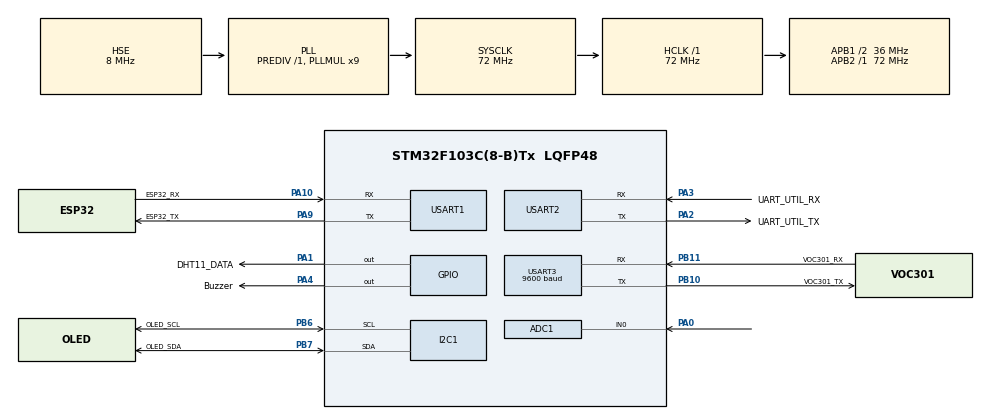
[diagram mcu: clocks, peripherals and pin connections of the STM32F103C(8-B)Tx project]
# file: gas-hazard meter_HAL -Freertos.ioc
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ADC1.Channel-0\#ChannelRegularConversion=ADC_CHANNEL_0
ADC1.ContinuousConvMode=ENABLE
ADC1.NbrOfConversionFlag=1
ADC1.Rank-0\#ChannelRegularConversion=1
ADC1.SamplingTime-0\#ChannelRegularConversion=ADC_SAMPLETIME_239CYCLES_5
ADC1.master=1
Mcu.Family=STM32F1
Mcu.Name=STM32F103C(8-B)Tx
Mcu.Package=LQFP48
NVIC.PriorityGroup=NVIC_PRIORITYGROUP_4
NVIC.TIM1_UP_IRQn=true\:0\:0\:true\:false\:true\:false\:true\:true
NVIC.TimeBase=TIM1_UP_IRQn
NVIC.TimeBaseIP=TIM1
NVIC.USART1_IRQn=true\:6\:0\:true\:false\:true\:true\:true\:true
NVIC.USART3_IRQn=true\:7\:0\:true\:false\:true\:true\:true\:true
PA0-WKUP.Signal=ADCx_IN0
PA1.GPIO_Label=DHT11_DATA
PA1.GPIO_ModeDefaultOutputPP=GPIO_MODE_OUTPUT_OD
PA1.GPIO_PuPd=GPIO_NOPULL
PA1.GPIO_Speed=GPIO_SPEED_FREQ_HIGH
PA1.PinState=GPIO_PIN_SET
PA1.Signal=GPIO_Output
PA10.GPIO_Label=ESP32_RX
PA10.Mode=Asynchronous
PA10.Signal=USART1_RX
PA13.Mode=Serial_Wire
PA13.Signal=SYS_JTMS-SWDIO
PA14.Mode=Serial_Wire
PA14.Signal=SYS_JTCK-SWCLK
PA2.GPIO_Label=UART_UTIL_TX
PA2.Mode=Asynchronous
PA2.Signal=USART2_TX
PA3.GPIO_Label=UART_UTIL_RX
PA3.Mode=Asynchronous
PA3.Signal=USART2_RX
PA4.GPIO_Label=Buzzer
PA4.GPIO_Speed=GPIO_SPEED_FREQ_HIGH
PA4.PinState=GPIO_PIN_SET
PA4.Signal=GPIO_Output
PA9.GPIO_Label=ESP32_TX
PA9.Mode=Asynchronous
PA9.Signal=USART1_TX
PB10.GPIO_Label=VOC301_TX
PB10.Mode=Asynchronous
PB10.Signal=USART3_TX
PB11.GPIO_Label=VOC301_RX
PB11.Mode=Asynchronous
PB11.Signal=USART3_RX
PB6.GPIO_Label=OLED_SCL
PB6.Mode=I2C
PB6.Signal=I2C1_SCL
PB7.GPIO_Label=OLED_SDA
PB7.Mode=I2C
PB7.Signal=I2C1_SDA
PC14-OSC32_IN.Mode=LSE-External-Oscillator
PC14-OSC32_IN.Signal=RCC_OSC32_IN
PC15-OSC32_OUT.Mode=LSE-External-Oscillator
PC15-OSC32_OUT.Signal=RCC_OSC32_OUT
PD0-OSC_IN.Mode=HSE-External-Oscillator
PD0-OSC_IN.Signal=RCC_OSC_IN
PD1-OSC_OUT.Mode=HSE-External-Oscillator
PD1-OSC_OUT.Signal=RCC_OSC_OUT
ProjectManager.HeapSize=0x200
ProjectManager.StackSize=0x400
ProjectManager.TargetToolchain=MDK-ARM V5.32
RCC.ADCPresc=RCC_ADCPCLK2_DIV6
RCC.AHBFreq_Value=72000000
RCC.APB1CLKDivider=RCC_HCLK_DIV2
RCC.APB1Freq_Value=36000000
RCC.APB1TimFreq_Value=72000000
RCC.APB2Freq_Value=72000000
RCC.APB2TimFreq_Value=72000000
RCC.HCLKFreq_Value=72000000
RCC.PLLMUL=RCC_PLL_MUL9
RCC.PLLSourceVirtual=RCC_PLLSOURCE_HSE
RCC.SYSCLKFreq_VALUE=72000000
RCC.SYSCLKSource=RCC_SYSCLKSOURCE_PLLCLK
RCC.USBFreq_Value=72000000
SH.ADCx_IN0.0=ADC1_IN0,IN0
USART1.VirtualMode=VM_ASYNC
USART2.VirtualMode=VM_ASYNC
USART3.BaudRate=9600
USART3.VirtualMode=VM_ASYNC
VP_SYS_VS_tim1.Mode=TIM1
board=custom

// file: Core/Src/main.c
/* USER CODE BEGIN Header */
/**
 ******************************************************************************
 * @file           : main.c
 * @brief          : Main program body
 ******************************************************************************
 * @attention
 *
 * Copyright (c) 2025 STMicroelectronics.
 * All rights reserved.
 *
 * This software is licensed under terms that can be found in the LICENSE file
 * in the root directory of this software component.
 * If no LICENSE file comes with this software, it is provided AS-IS.
 *
 ******************************************************************************
 */
/* USER CODE END Header */
#include "main.h"
#include "adc.h"
#include "i2c.h"
#include "usart.h"
#include "gpio.h"

/* USER CODE BEGIN Includes */
#include "oled.h"
#include "stdio.h"
#include "humiture.h"
#include "gass_measuer.h"
#include "esp32at.h"
#include "string.h"
#include "onenet.h"
#include "buzzer.h"
#include <stdlib.h>
#include "app_freertos.h"
#include "21voc.h"
/* USER CODE END Includes */

/* USER CODE BEGIN PM */
uint8_t g_rx_buffer[256] = {0};
volatile uint8_t g_rx_flag = 0;          // 接收完成标志 (1=完成)
volatile uint16_t g_rx_len = 0;          // 实际接收到的长度
volatile uint8_t g_is_at_mode = 0;       // 模式标志：1=AT初始化模式，0=云端业务模式
extern SemaphoreHandle_t xMutex_UART_TX; // 保护发送，防止发送数据冲突
extern SemaphoreHandle_t xSem_UART_RX;   // 通知云端任务有数据

/* USER CODE END PM */

void SystemClock_Config(void);

int main(void)
{

  /* MCU Configuration--------------------------------------------------------*/

  /* Reset of all peripherals, Initializes the Flash interface and the Systick. */
  HAL_Init();

  /* Configure the system clock */
  SystemClock_Config();

  /* Initialize all configured peripherals */
  MX_GPIO_Init();
  MX_ADC1_Init();
  MX_USART1_UART_Init();
  MX_USART2_UART_Init();
  MX_USART3_UART_Init();
  MX_I2C1_Init();
  /* USER CODE BEGIN 2 */
  //测试输出功能
  printf("System Init Done.\n");
  // 硬件初始化
  // 建议 OLED 在这里初始化，避免任务还没跑屏幕是黑的
  OLED_Init();
  Gas_Measure_Init();
  humiture_init();

  // 开启串口空闲中断 (非常重要)
  HAL_UARTEx_ReceiveToIdle_IT(&huart1, g_rx_buffer, 256);
      g_is_at_mode = 1;
    onenet_init(g_rx_buffer);
    g_is_at_mode = 0; // 初始化结束，开放云端指令处理

  // 启动 FreeRTOS，程序从此不会返回，直接进入任务调度
  FreeRTOS_Start();

  /* USER CODE END 2 */

  /* Infinite loop */
  /* USER CODE BEGIN WHILE */
    /* USER CODE BEGIN 3 */

  while (1)
  {
    /* USER CODE END WHILE */

  }
  /* USER CODE END 3 */
}

void SystemClock_Config(void)
{
  RCC_OscInitTypeDef RCC_OscInitStruct = {0};
  RCC_ClkInitTypeDef RCC_ClkInitStruct = {0};
  RCC_PeriphCLKInitTypeDef PeriphClkInit = {0};

  /** Initializes the RCC Oscillators according to the specified parameters
   * in the RCC_OscInitTypeDef structure.
   */
  RCC_OscInitStruct.OscillatorType = RCC_OSCILLATORTYPE_HSE;
  RCC_OscInitStruct.HSEState = RCC_HSE_ON;
  RCC_OscInitStruct.HSEPredivValue = RCC_HSE_PREDIV_DIV1;
  RCC_OscInitStruct.HSIState = RCC_HSI_ON;
  RCC_OscInitStruct.PLL.PLLState = RCC_PLL_ON;
  RCC_OscInitStruct.PLL.PLLSource = RCC_PLLSOURCE_HSE;
  RCC_OscInitStruct.PLL.PLLMUL = RCC_PLL_MUL9;
  if (HAL_RCC_OscConfig(&RCC_OscInitStruct) != HAL_OK)
  {
    Error_Handler();
  }

  /** Initializes the CPU, AHB and APB buses clocks
   */
  RCC_ClkInitStruct.ClockType = RCC_CLOCKTYPE_HCLK | RCC_CLOCKTYPE_SYSCLK | RCC_CLOCKTYPE_PCLK1 | RCC_CLOCKTYPE_PCLK2;
  RCC_ClkInitStruct.SYSCLKSource = RCC_SYSCLKSOURCE_PLLCLK;
  RCC_ClkInitStruct.AHBCLKDivider = RCC_SYSCLK_DIV1;
  RCC_ClkInitStruct.APB1CLKDivider = RCC_HCLK_DIV2;
  RCC_ClkInitStruct.APB2CLKDivider = RCC_HCLK_DIV1;

  if (HAL_RCC_ClockConfig(&RCC_ClkInitStruct, FLASH_LATENCY_2) != HAL_OK)
  {
    Error_Handler();
  }
  PeriphClkInit.PeriphClockSelection = RCC_PERIPHCLK_ADC;
  PeriphClkInit.AdcClockSelection = RCC_ADCPCLK2_DIV6;
  if (HAL_RCCEx_PeriphCLKConfig(&PeriphClkInit) != HAL_OK)
  {
    Error_Handler();
  }
}

/* USER CODE BEGIN 4 */
//串口1的接收，用来判断到底是正常通信还是云平台命令
void HAL_UARTEx_RxEventCallback(UART_HandleTypeDef *huart, uint16_t Size)
{
  if (huart->Instance == USART1)
  {
    g_rx_len = Size;
    if (Size < 256)
      g_rx_buffer[Size] = '\0';
    else
      g_rx_buffer[255] = '\0';

    if (g_is_at_mode == 1)
    {
      // AT 模式：直接通知 AT 等待函数（通过标志位）
      g_rx_flag = 1;
    }
    else
    {
      // 云端模式：发送信号量唤醒任务
      BaseType_t xHigherPriorityTaskWoken = pdFALSE;
      xSemaphoreGiveFromISR(xSem_UART_RX, &xHigherPriorityTaskWoken);
      portYIELD_FROM_ISR(xHigherPriorityTaskWoken);
    }

    HAL_UARTEx_ReceiveToIdle_IT(&huart1, g_rx_buffer, 256);
  }
}
/* USER CODE END 4 */

void HAL_TIM_PeriodElapsedCallback(TIM_HandleTypeDef *htim)
{
  if (htim->Instance == TIM1)
  {
    HAL_IncTick();
  }
}

void Error_Handler(void)
{
  __disable_irq();
  while (1)
  {
  }
}
